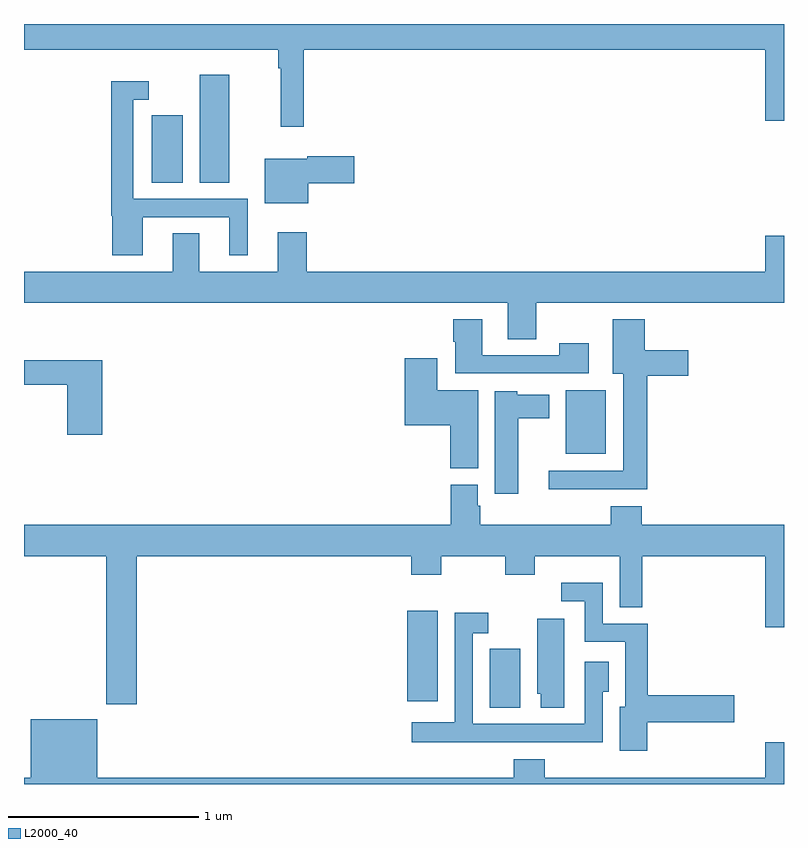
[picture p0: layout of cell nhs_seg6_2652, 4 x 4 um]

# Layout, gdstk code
import gdstk
lib = gdstk.Library(unit=1e-6, precision=1e-09)
def R(c, l, rs):  # rectangles x0, y0, x1, y1
    for r in rs: c.add(gdstk.rectangle(r[:2], r[2:], *l))
def P(c, l, *ps):  # polygons
    for p in ps: c.add(gdstk.Polygon(p, *l))
L2000_40 = (2000, 40)

nhs_seg6_2652 = lib.new_cell('nhs_seg6_2652')
R(nhs_seg6_2652, L2000_40, [(271.451,915.901,271.612,916.212), (271.016,915.936,271.177,916.411), (271.85,917.237,272.062,917.572), (269.672,918.664,269.836,919.021), (269.924,918.664,270.079,919.234)])
P(nhs_seg6_2652, L2000_40, [(272.9,918.99),(273,918.99),(273,919.5),(269,919.5),(269,919.364),(270.337,919.364),(270.337,919.268),(270.352,919.268),(270.352,918.96),(270.473,918.96),(270.473,919.364),(272.9,919.364)],
  [(269.626,918.483),(270.08,918.483),(270.08,918.282),(270.178,918.282),(270.178,918.579),(269.574,918.579),(269.574,919.101),(269.656,919.101),(269.656,919.198),(269.458,919.198),(269.458,918.492),(269.465,918.492),(269.465,918.282),(269.626,918.282)],
  [(270.496,918.661),(270.739,918.661),(270.739,918.803),(270.492,918.803),(270.492,918.79),(270.266,918.79),(270.266,918.557),(270.496,918.557)],
  [(271.547,917.842),(271.695,917.842),(271.695,918.032),(273,918.032),(273,918.385),(272.9,918.385),(272.9,918.196),(270.488,918.196),(270.488,918.403),(270.335,918.403),(270.335,918.196),(269.923,918.196),(269.923,918.398),(269.783,918.398),(269.783,918.196),(269,918.196),(269,918.032),(271.547,918.032)],
  [(271.972,917.821),(271.816,917.821),(271.816,917.757),(271.411,917.757),(271.411,917.947),(271.259,917.947),(271.259,917.827),(271.271,917.827),(271.271,917.661),(271.972,917.661)],
  [(272.279,917.648),(272.497,917.648),(272.497,917.782),(272.266,917.782),(272.266,917.947),(272.099,917.947),(272.099,917.66),(272.153,917.66),(272.153,917.148),(271.761,917.148),(271.761,917.051),(272.279,917.051)],
  [(271.39,917.572),(271.174,917.572),(271.174,917.74),(271.004,917.74),(271.004,917.387),(271.244,917.387),(271.244,917.161),(271.39,917.161)],
  [(269.411,917.731),(269,917.731),(269,917.602),(269.228,917.602),(269.228,917.337),(269.411,917.337)],
  [(271.6,917.426),(271.765,917.426),(271.765,917.548),(271.596,917.548),(271.596,917.566),(271.478,917.566),(271.478,917.028),(271.6,917.028)],
  [(269.594,916.7),(271.037,916.7),(271.037,916.601),(271.197,916.601),(271.197,916.7),(271.534,916.7),(271.534,916.601),(271.689,916.601),(271.689,916.7),(272.135,916.7),(272.135,916.429),(272.254,916.429),(272.254,916.7),(272.9,916.7),(272.9,916.326),(273,916.326),(273,916.864),(272.252,916.864),(272.252,916.963),(272.087,916.963),(272.087,916.864),(271.4,916.864),(271.4,916.965),(271.387,916.965),(271.387,917.076),(271.247,917.076),(271.247,916.864),(269,916.864),(269,916.7),(269.434,916.7),(269.434,915.921),(269.594,915.921)],
  [(272.279,915.826),(272.737,915.826),(272.737,915.968),(272.284,915.968),(272.284,916.344),(272.046,916.344),(272.046,916.558),(271.827,916.558),(271.827,916.461),(271.95,916.461),(271.95,916.248),(272.165,916.248),(272.165,915.907),(272.135,915.907),(272.135,915.675),(272.279,915.675)],
  [(271.459,915.72),(271.825,915.72),(271.825,915.719),(272.046,915.719),(272.046,915.985),(272.077,915.985),(272.077,916.144),(271.95,916.144),(271.95,915.816),(271.362,915.816),(271.362,916.293),(271.444,916.293),(271.444,916.402),(271.266,916.402),(271.266,915.826),(271.041,915.826),(271.041,915.719),(271.459,915.719)],
  [(271.843,916.369),(271.7,916.369),(271.7,915.975),(271.721,915.975),(271.721,915.901),(271.843,915.901)],
  [(273,915.721),(272.9,915.721),(272.9,915.532),(271.742,915.532),(271.742,915.631),(271.577,915.631),(271.577,915.532),(269.386,915.532),(269.386,915.841),(269.036,915.841),(269.036,915.532),(269,915.532),(269,915.5),(273,915.5)])

lib.write_gds('nhs_seg6_2652.gds')
